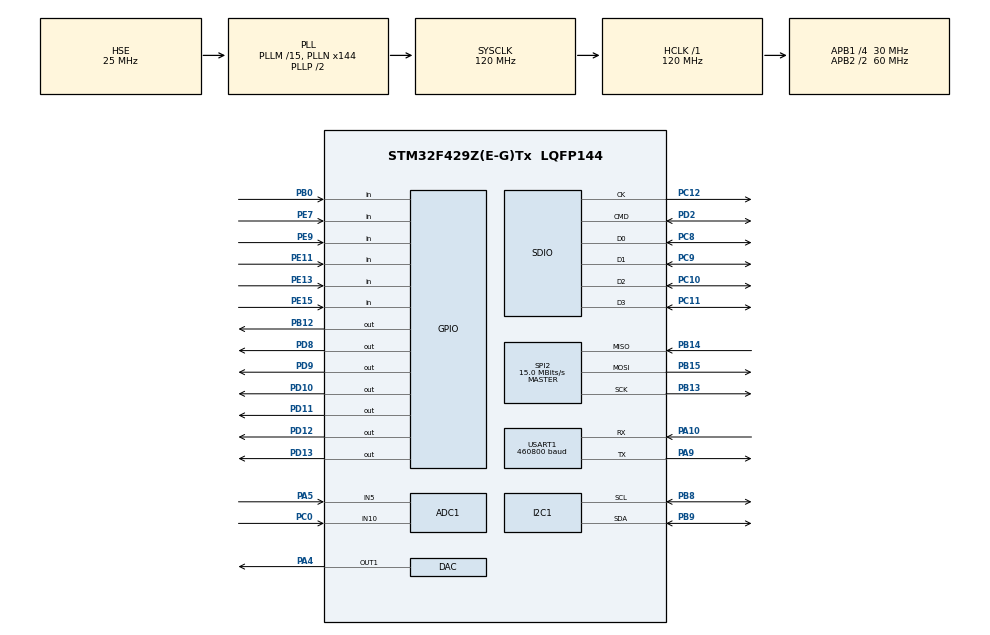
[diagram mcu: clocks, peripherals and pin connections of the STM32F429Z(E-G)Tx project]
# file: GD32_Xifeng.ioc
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ADC1.Channel-3\#ChannelRegularConversion=ADC_CHANNEL_10
ADC1.Channel-5\#ChannelRegularConversion=ADC_CHANNEL_5
ADC1.ContinuousConvMode=DISABLE
ADC1.DMAContinuousRequests=DISABLE
ADC1.EnableAnalogWatchDog=false
ADC1.ExternalTrigConv=ADC_EXTERNALTRIGCONV_T3_TRGO
ADC1.NbrOfConversion=2
ADC1.NbrOfConversionFlag=1
ADC1.Rank-3\#ChannelRegularConversion=1
ADC1.Rank-5\#ChannelRegularConversion=2
ADC1.SamplingTime-3\#ChannelRegularConversion=ADC_SAMPLETIME_3CYCLES
ADC1.SamplingTime-5\#ChannelRegularConversion=ADC_SAMPLETIME_3CYCLES
ADC1.ScanConvMode=ENABLE
ADC1.master=1
DAC.DAC_Trigger=DAC_TRIGGER_T6_TRGO
Dma.ADC1.2.Direction=DMA_PERIPH_TO_MEMORY
Dma.ADC1.2.FIFOMode=DMA_FIFOMODE_DISABLE
Dma.ADC1.2.Instance=DMA2_Stream0
Dma.ADC1.2.MemDataAlignment=DMA_MDATAALIGN_WORD
Dma.ADC1.2.MemInc=DMA_MINC_ENABLE
Dma.ADC1.2.Mode=DMA_NORMAL
Dma.ADC1.2.PeriphDataAlignment=DMA_PDATAALIGN_WORD
Dma.ADC1.2.PeriphInc=DMA_PINC_DISABLE
Dma.ADC1.2.Priority=DMA_PRIORITY_LOW
Dma.DAC1.1.Direction=DMA_MEMORY_TO_PERIPH
Dma.DAC1.1.FIFOMode=DMA_FIFOMODE_DISABLE
Dma.DAC1.1.Instance=DMA1_Stream5
Dma.DAC1.1.MemDataAlignment=DMA_MDATAALIGN_HALFWORD
Dma.DAC1.1.MemInc=DMA_MINC_ENABLE
Dma.DAC1.1.Mode=DMA_CIRCULAR
Dma.DAC1.1.PeriphDataAlignment=DMA_PDATAALIGN_HALFWORD
Dma.DAC1.1.PeriphInc=DMA_PINC_DISABLE
Dma.DAC1.1.Priority=DMA_PRIORITY_LOW
Dma.Request0=USART1_RX
Dma.Request1=DAC1
Dma.Request2=ADC1
Dma.USART1_RX.0.Direction=DMA_PERIPH_TO_MEMORY
Dma.USART1_RX.0.FIFOMode=DMA_FIFOMODE_DISABLE
Dma.USART1_RX.0.Instance=DMA2_Stream2
Dma.USART1_RX.0.MemDataAlignment=DMA_MDATAALIGN_BYTE
Dma.USART1_RX.0.MemInc=DMA_MINC_ENABLE
Dma.USART1_RX.0.Mode=DMA_NORMAL
Dma.USART1_RX.0.PeriphDataAlignment=DMA_PDATAALIGN_BYTE
Dma.USART1_RX.0.PeriphInc=DMA_PINC_DISABLE
Dma.USART1_RX.0.Priority=DMA_PRIORITY_LOW
FATFS._CODE_PAGE=936
FATFS._USE_LFN=3
I2C1.I2C_Mode=I2C_Fast
Mcu.Family=STM32F4
Mcu.Name=STM32F429Z(E-G)Tx
Mcu.Package=LQFP144
NVIC.ADC_IRQn=true\:0\:0\:false\:false\:true\:true\:true\:true
NVIC.DMA1_Stream5_IRQn=true\:0\:0\:false\:false\:true\:false\:true\:true
NVIC.DMA2_Stream0_IRQn=true\:0\:0\:false\:false\:true\:false\:true\:true
NVIC.DMA2_Stream2_IRQn=true\:0\:0\:false\:false\:true\:false\:true\:true
NVIC.PriorityGroup=NVIC_PRIORITYGROUP_4
NVIC.TIM8_TRG_COM_TIM14_IRQn=true\:0\:0\:false\:false\:true\:true\:true\:true
NVIC.USART1_IRQn=true\:0\:0\:false\:false\:true\:true\:true\:true
PA10.Mode=Asynchronous
PA10.Signal=USART1_RX
PA13.Mode=Serial_Wire
PA13.Signal=SYS_JTMS-SWDIO
PA14.Mode=Serial_Wire
PA14.Signal=SYS_JTCK-SWCLK
PA4.Signal=COMP_DAC1_group
PA5.Signal=ADCx_IN5
PA9.Mode=Asynchronous
PA9.Signal=USART1_TX
PB0.Signal=GPIO_Input
PB12.Signal=GPIO_Output
PB13.Mode=Full_Duplex_Master
PB13.Signal=SPI2_SCK
PB14.Mode=Full_Duplex_Master
PB14.Signal=SPI2_MISO
PB15.Mode=Full_Duplex_Master
PB15.Signal=SPI2_MOSI
PB8.Mode=I2C
PB8.Signal=I2C1_SCL
PB9.Mode=I2C
PB9.Signal=I2C1_SDA
PC0.Signal=ADCx_IN10
PC10.Mode=SD_4_bits_Wide_bus
PC10.Signal=SDIO_D2
PC11.Mode=SD_4_bits_Wide_bus
PC11.Signal=SDIO_D3
PC12.Mode=SD_4_bits_Wide_bus
PC12.Signal=SDIO_CK
PC14/OSC32_IN.Mode=LSE-External-Oscillator
PC14/OSC32_IN.Signal=RCC_OSC32_IN
PC15/OSC32_OUT.Mode=LSE-External-Oscillator
PC15/OSC32_OUT.Signal=RCC_OSC32_OUT
PC8.Mode=SD_4_bits_Wide_bus
PC8.Signal=SDIO_D0
PC9.Mode=SD_4_bits_Wide_bus
PC9.Signal=SDIO_D1
PD10.GPIO_ModeDefaultOutputPP=GPIO_MODE_OUTPUT_PP
PD10.GPIO_PuPd=GPIO_PULLUP
PD10.PinState=GPIO_PIN_SET
PD10.Signal=GPIO_Output
PD11.GPIO_ModeDefaultOutputPP=GPIO_MODE_OUTPUT_PP
PD11.GPIO_PuPd=GPIO_PULLUP
PD11.PinState=GPIO_PIN_SET
PD11.Signal=GPIO_Output
PD12.GPIO_ModeDefaultOutputPP=GPIO_MODE_OUTPUT_PP
PD12.GPIO_PuPd=GPIO_PULLUP
PD12.PinState=GPIO_PIN_SET
PD12.Signal=GPIO_Output
PD13.GPIO_ModeDefaultOutputPP=GPIO_MODE_OUTPUT_PP
PD13.GPIO_PuPd=GPIO_PULLUP
PD13.PinState=GPIO_PIN_SET
PD13.Signal=GPIO_Output
PD2.Mode=SD_4_bits_Wide_bus
PD2.Signal=SDIO_CMD
PD8.GPIO_ModeDefaultOutputPP=GPIO_MODE_OUTPUT_PP
PD8.GPIO_PuPd=GPIO_PULLUP
PD8.PinState=GPIO_PIN_SET
PD8.Signal=GPIO_Output
PD9.GPIO_ModeDefaultOutputPP=GPIO_MODE_OUTPUT_PP
PD9.GPIO_PuPd=GPIO_PULLUP
PD9.PinState=GPIO_PIN_SET
PD9.Signal=GPIO_Output
PE11.Signal=GPIO_Input
PE13.Signal=GPIO_Input
PE15.Signal=GPIO_Input
PE2.Signal=SPI4_SCK
PE7.Signal=GPIO_Input
PE9.Signal=GPIO_Input
PH0/OSC_IN.Mode=HSE-External-Oscillator
PH0/OSC_IN.Signal=RCC_OSC_IN
PH1/OSC_OUT.Mode=HSE-External-Oscillator
PH1/OSC_OUT.Signal=RCC_OSC_OUT
ProjectManager.HeapSize=0x1000
ProjectManager.StackSize=0x400
ProjectManager.TargetToolchain=MDK-ARM V5
RCC.48MHZClocksFreq_Value=48000000
RCC.AHBFreq_Value=120000000
RCC.APB1CLKDivider=RCC_HCLK_DIV4
RCC.APB1Freq_Value=30000000
RCC.APB1TimFreq_Value=60000000
RCC.APB2CLKDivider=RCC_HCLK_DIV2
RCC.APB2Freq_Value=60000000
RCC.APB2TimFreq_Value=120000000
RCC.CortexFreq_Value=120000000
RCC.HCLKFreq_Value=120000000
RCC.HSE_VALUE=25000000
RCC.HSI_VALUE=16000000
RCC.PLLM=15
RCC.PLLN=144
RCC.PLLQ=5
RCC.PLLSourceVirtual=RCC_PLLSOURCE_HSE
RCC.SYSCLKFreq_VALUE=120000000
RCC.SYSCLKSource=RCC_SYSCLKSOURCE_PLLCLK
RCC.VCOOutputFreq_Value=240000000
SDIO.ClockDiv=6
SH.ADCx_IN10.0=ADC1_IN10,IN10
SH.ADCx_IN5.0=ADC1_IN5,IN5
SH.COMP_DAC1_group.0=DAC_OUT1,DAC_OUT1
SPI2.CLKPhase=SPI_PHASE_2EDGE
SPI2.CLKPolarity=SPI_POLARITY_HIGH
SPI2.CalculateBaudRate=15.0 MBits/s
SPI2.Direction=SPI_DIRECTION_2LINES
SPI2.Mode=SPI_MODE_MASTER
SPI2.VirtualType=VM_MASTER
STMicroelectronics.X-CUBE-ALGOBUILD.1.3.0.LibraryCcDSPOoLibraryJjDSPOoLibrary=true
TIM14.AutoReloadPreload=TIM_AUTORELOAD_PRELOAD_ENABLE
TIM14.Period=5000-1
TIM14.Prescaler=180-1
TIM3.AutoReloadPreload=TIM_AUTORELOAD_PRELOAD_ENABLE
TIM3.Period=100-1
TIM3.Prescaler=180-1
TIM3.TIM_MasterOutputTrigger=TIM_TRGO_UPDATE
TIM6.AutoReloadPreload=TIM_AUTORELOAD_PRELOAD_ENABLE
TIM6.Period=100-1
TIM6.Prescaler=180-1
TIM6.TIM_MasterOutputTrigger=TIM_TRGO_UPDATE
USART1.BaudRate=460800
USART1.VirtualMode=VM_ASYNC
VP_FATFS_VS_SDIO.Mode=SDIO
VP_STMicroelectronics.X-CUBE-ALGOBUILD_VS_DSPOoLibraryJjLibrary_1.3.0_1.3.0.Mode=DSPOoLibraryJjLibrary
VP_TIM14_VS_ClockSourceINT.Mode=Enable_Timer
VP_TIM3_VS_ClockSourceINT.Mode=Internal
VP_TIM6_VS_ClockSourceINT.Mode=Enable_Timer
board=custom

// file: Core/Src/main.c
/* USER CODE BEGIN Header */
/**
 ******************************************************************************
 * @file           : main.c
 * @brief          : Main program body
 ******************************************************************************
 * @attention
 *
 * Copyright (c) 2025 STMicroelectronics.
 * All rights reserved.
 *
 * This software is licensed under terms that can be found in the LICENSE file
 * in the root directory of this software component.
 * If no LICENSE file comes with this software, it is provided AS-IS.
 *
 ******************************************************************************
 */
/* USER CODE END Header */
#include "main.h"
#include "adc.h"     /* ADC模块：用于模拟信号采集 */
#include "dac.h"     /* DAC模块：用于模拟信号输出 */
#include "dma.h"     /* DMA模块：用于直接内存访问，减轻CPU负担 */
#include "fatfs.h"   /* FATFS文件系统：用于SD卡文件操作 */
#include "i2c.h"     /* I2C通信：用于与OLED等I2C设备通信 */
#include "sdio.h"    /* SDIO接口：用于SD卡通信 */
#include "spi.h"     /* SPI通信：用于与Flash等SPI设备通信 */
#include "tim.h"     /* 定时器：用于精确定时功能 */
#include "usart.h"   /* 串口：用于与PC等设备通信 */
#include "gpio.h"    /* GPIO：通用输入输出口控制 */

/* USER CODE BEGIN Includes */
#include "stdio.h"   /* 标准输入输出：提供printf等函数 */
#include "mydefine.h" /* 自定义宏定义和函数：项目配置和功能集合 */
#include "string.h"  /* 字符串处理：提供字符串操作函数 */
#include "ff.h"      /* FatFs文件系统核心：提供文件操作API */
/* USER CODE END Includes */

/* USER CODE BEGIN PTD */
/* 本节用于声明自定义类型，如结构体、枚举等 */
/* USER CODE END PTD */

/* USER CODE BEGIN PD */
/* 本节用于项目内部的宏定义 */
/* USER CODE END PD */

/* USER CODE BEGIN PM */
/* 本节用于定义复杂的宏函数 */
/* USER CODE END PM */

void SystemClock_Config(void);
/* USER CODE BEGIN PFP */
/* 本节用于声明私有函数原型 */
/* USER CODE END PFP */

/* USER CODE BEGIN 0 */

/* ===== 信号生成相关参数 ===== */
// 注意：峰值幅度是相对于中心电压 (Vref/2) 的。
//       如果 Vref = 3.3V, 中心电压 = 1.65V。
//       峰值幅度 1000mV 意味着输出电压范围大约在 0.65V 到 2.65V 之间。
uint32_t initial_frequency = 100;      // 初始频率：单位Hz，可通过函数修改
uint16_t initial_peak_amplitude = 1000; // 初始峰值幅度：单位mV，可通过函数修改

/* ===== 显示相关变量 ===== */
u8g2_t u8g2; // 全局u8g2实例：用于控制OLED显示，管理显示缓冲区和绘图操作
/* USER CODE END 0 */

/**
  * @brief  应用程序入口点
  * @retval int 未使用返回值
  * @note   此函数是程序的主入口点，初始化系统并执行主循环
  */
int main(void)
{

  /* USER CODE BEGIN 1 */
  /* 初始化前的预备工作可以放在这里 */
  /* USER CODE END 1 */

  /* MCU Configuration--------------------------------------------------------*/

  /* Reset of all peripherals, Initializes the Flash interface and the Systick. */
  HAL_Init(); /* HAL库初始化：配置SysTick和中断优先级等 */

  /* USER CODE BEGIN Init */
  /* 其他自定义初始化可以放在这里 */
  /* USER CODE END Init */

  /* Configure the system clock */
  SystemClock_Config(); /* 系统时钟配置：设置CPU和外设时钟 */

  /* USER CODE BEGIN SysInit */
  /* 系统级初始化可以放在这里 */
  /* USER CODE END SysInit */

  /* Initialize all configured peripherals */
  MX_GPIO_Init();     /* GPIO初始化：配置所有使用的IO口 */
  MX_DMA_Init();      /* DMA初始化：配置用于ADC、UART等的DMA通道 */
  MX_USART1_UART_Init(); /* UART1初始化：配置用于调试输出的串口 */
  MX_ADC1_Init();     /* ADC1初始化：配置用于信号采集的ADC通道 */
  MX_DAC_Init();      /* DAC初始化：配置用于信号生成的DAC通道 */
  MX_TIM3_Init();     /* 定时器3初始化：可用于PWM输出或定时触发 */
  MX_TIM6_Init();     /* 定时器6初始化：通常用作基本定时器 */
  MX_TIM14_Init();    /* 定时器14初始化：可用于其他定时功能 */
  MX_I2C1_Init();     /* I2C1初始化：用于与OLED通信 */
  MX_SPI2_Init();     /* SPI2初始化：用于与Flash存储器通信 */
  MX_SDIO_SD_Init();  /* SDIO初始化：配置SD卡接口 */
  MX_FATFS_Init();    /* FatFs初始化：准备文件系统 */
  /* USER CODE BEGIN 2 */
  /* ===== 应用层初始化开始 ===== */

  /* FFT模块初始化：用于频谱分析 */
  My_FFT_Init();

  /* 串口环形缓冲区初始化：用于异步处理串口数据 */
  rt_ringbuffer_init(&uart_ringbuffer, ringbuffer_pool, sizeof(ringbuffer_pool));

  /* 信号生成应用初始化（注释掉的部分） */
  //  dac_app_init(initial_frequency, initial_peak_amplitude);
  //	dac_app_set_frequency(1000);
  //	dac_app_set_waveform(WAVEFORM_TRIANGLE);

  /* 按钮应用初始化：处理按键输入 */
  app_btn_init();

  /* OLED显示初始化：准备显示硬件 */
  OLED_Init();

  /* ADC采样定时器DMA初始化：用于连续信号采集 */
  adc_tim_dma_init();

  /* ===== U8G2图形库初始化 ===== */
  // 1. Setup: 这是最关键的一步，它配置了 u8g2 实例。
  //    - 选择与硬件匹配的 setup 函数 (SSD1306, I2C, 128x32, Full Buffer)。
  //    - &u8g2: 指向要配置的 u8g2 结构体实例的指针。
  //    - U8G2_R0: 旋转设置。U8G2_R0=0°, U8G2_R1=90°, U8G2_R2=180°, U8G2_R3=270°。
  //    - u8x8_byte_hw_i2c: 指向你的硬件 I2C 字节传输回调函数的指针。
  //    - u8g2_gpio_and_delay_stm32: 指向你的 GPIO 和延时回调函数的指针。
  u8g2_Setup_ssd1306_i2c_128x32_univision_f(&u8g2, U8G2_R0, u8x8_byte_hw_i2c, u8g2_gpio_and_delay_stm32);
  //    - &u8g2: u8g2 结构体指针
  //    - U8G2_R0: 旋转设置 (0度)
  // 2. Init Display: 发送初始化序列到 OLED
  u8g2_InitDisplay(&u8g2);
  // 3. Set Power Save: 唤醒屏幕。
  //    - 参数 0 表示关闭省电模式 (屏幕亮起)。
  //    - 参数 1 表示进入省电模式 (屏幕熄灭)。
  u8g2_SetPowerSave(&u8g2, 0);

  /* SPI Flash测试（注释掉的部分） */
  //	test_spi_flash();

  /* 输出系统初始化完成信息 */
  my_printf(&huart1, "\r\n--- System Init OK ---\r\n");

  /* ===== LittleFS文件系统初始化 ===== */
  /* 初始化SPI Flash存储设备 */
  spi_flash_init(); // 确保SPI Flash已就绪
  my_printf(&huart1, "LFS: Initializing storage backend...\r\n");
  /* 初始化LittleFS存储后端 */
  if (lfs_storage_init(&cfg) != LFS_ERR_OK)
  {
    my_printf(&huart1, "LFS: Storage backend init FAILED! Halting.\r\n");
    while (1)
      ; // 存储后端初始化失败时死循环
  }
  my_printf(&huart1, "LFS: Storage backend init OK.\r\n");

  /* 运行LittleFS基本测试：挂载、格式化(如需)和读写测试 */
  lfs_basic_test();

  /* ===== Shell命令行界面初始化 ===== */
  // 初始化Shell并传入文件系统实例
  shell_init(&lfs);

  // 设置UART句柄
  shell_set_uart(&huart1);

  /* 初始化任务调度器：管理多任务执行 */
  scheduler_init();

  /* 测试SD卡和FAT文件系统功能 */
  test_sd_fatfs();

  /* USER CODE END 2 */

  /* Infinite loop */
  /* USER CODE BEGIN WHILE */

  while (1) /* 主循环：程序将一直在此循环中运行 */
  {
    /* USER CODE END WHILE */

    /* USER CODE BEGIN 3 */
    /* 运行任务调度器：处理所有注册的任务 */
    scheduler_run();
  }
  /* USER CODE END 3 */
}

/**
  * @brief 系统时钟配置
  * @retval None
  * @note  配置系统时钟、PLL、分频器等
  */
void SystemClock_Config(void)
{
  RCC_OscInitTypeDef RCC_OscInitStruct = {0};
  RCC_ClkInitTypeDef RCC_ClkInitStruct = {0};

  /** Configure the main internal regulator output voltage
  */
  __HAL_RCC_PWR_CLK_ENABLE(); /* 使能电源控制时钟 */
  __HAL_PWR_VOLTAGESCALING_CONFIG(PWR_REGULATOR_VOLTAGE_SCALE3); /* 设置电压调节器输出级别 */

  /** Initializes the RCC Oscillators according to the specified parameters
  * in the RCC_OscInitTypeDef structure.
  */
  RCC_OscInitStruct.OscillatorType = RCC_OSCILLATORTYPE_HSE; /* 使用外部高速时钟(HSE) */
  RCC_OscInitStruct.HSEState = RCC_HSE_ON; /* 开启HSE */
  RCC_OscInitStruct.PLL.PLLState = RCC_PLL_ON; /* 启用PLL */
  RCC_OscInitStruct.PLL.PLLSource = RCC_PLLSOURCE_HSE; /* PLL时钟源为HSE */
  RCC_OscInitStruct.PLL.PLLM = 15; /* HSE分频系数M=15 */
  RCC_OscInitStruct.PLL.PLLN = 144; /* PLL倍频系数N=144 */
  RCC_OscInitStruct.PLL.PLLP = RCC_PLLP_DIV2; /* PLL输出分频系数P=2 */
  RCC_OscInitStruct.PLL.PLLQ = 5; /* PLL输出分频系数Q=5，用于USB、SDIO等 */
  if (HAL_RCC_OscConfig(&RCC_OscInitStruct) != HAL_OK)
  {
    Error_Handler();
  }

  /** Initializes the CPU, AHB and APB buses clocks
  */
  RCC_ClkInitStruct.ClockType = RCC_CLOCKTYPE_HCLK|RCC_CLOCKTYPE_SYSCLK
                              |RCC_CLOCKTYPE_PCLK1|RCC_CLOCKTYPE_PCLK2;
  RCC_ClkInitStruct.SYSCLKSource = RCC_SYSCLKSOURCE_PLLCLK; /* 系统时钟源为PLL */
  RCC_ClkInitStruct.AHBCLKDivider = RCC_SYSCLK_DIV1; /* AHB时钟 = 系统时钟 */
  RCC_ClkInitStruct.APB1CLKDivider = RCC_HCLK_DIV4; /* APB1时钟 = AHB时钟/4 */
  RCC_ClkInitStruct.APB2CLKDivider = RCC_HCLK_DIV2; /* APB2时钟 = AHB时钟/2 */

  if (HAL_RCC_ClockConfig(&RCC_ClkInitStruct, FLASH_LATENCY_3) != HAL_OK)
  {
    Error_Handler();
  }
}

/* USER CODE BEGIN 4 */
/* 用户代码段4：可添加自定义函数实现 */
/* USER CODE END 4 */

/**
  * @brief  错误处理函数
  * @retval None
  * @note   在发生错误时被调用，通常会导致系统挂起
  */
void Error_Handler(void)
{
  /* USER CODE BEGIN Error_Handler_Debug */
  /* 用户可以添加自己的实现来报告HAL错误返回状态 */
  __disable_irq(); /* 禁用中断 */
  while (1) /* 错误处理死循环 */
  {
  }
  /* USER CODE END Error_Handler_Debug */
}

#ifdef  USE_FULL_ASSERT
/**
  * @brief  报告断言错误的源文件名和源行号
  * @param  file: 指向源文件名的指针
  * @param  line: 断言错误行源行号
  * @retval None
  * @note   在使用assert_param宏检测到参数错误时被调用
  */
void assert_failed(uint8_t *file, uint32_t line)
{
  /* USER CODE BEGIN 6 */
  /* 用户可以添加自己的实现来报告文件名和行号，
     例如: printf("Wrong parameters value: file %s on line %d\r\n", file, line) */
  /* USER CODE END 6 */
}
#endif /* USE_FULL_ASSERT */
